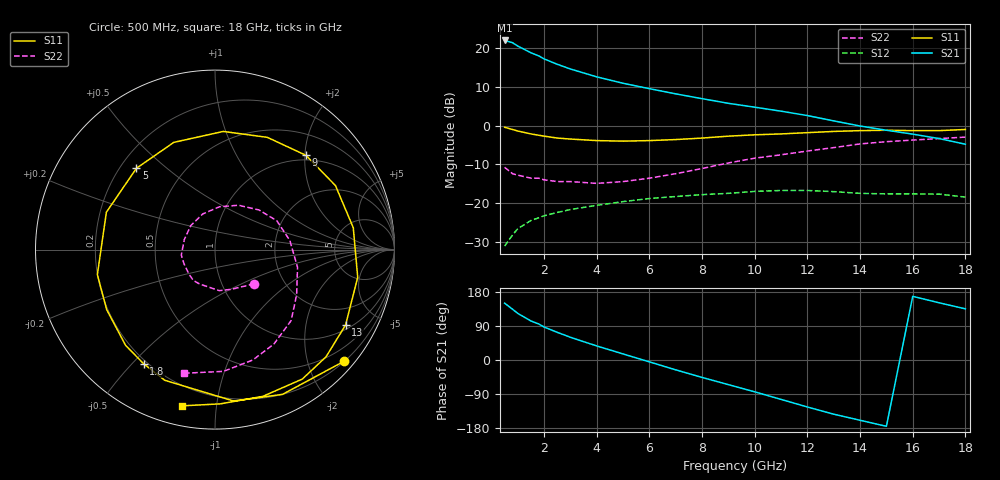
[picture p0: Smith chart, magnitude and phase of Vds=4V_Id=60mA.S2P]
!ATF-34143
!S-PARAMETERS at Vds=4V  Id=60mA.  LAST UPDATED 01-29-99
# ghz s ma r 50
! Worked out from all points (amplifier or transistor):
!   23 points, 500 MHz to 18 GHz, reference 50 ohm
!   highest |S21| = 21.9 dB at 500 MHz (marker M1)
!   |S21| within 3 dB of that: start of sweep to 1.451 GHz
!   unconditionally stable (mu >= 1): 5.195 GHz to end of sweep
!   at 1.5 GHz: K = 0.46, MSG = 21.6 dB, |S12| = -24.4 dB
!   at 7 GHz: K = 1.10, MAG = 11.3 dB, |S12| = -18.3 dB
!   at 18 GHz: K = 1.33, MAG = 3.4 dB, |S12| = -18.4 dB
!   lowest NFmin = 0.11 dB at 500 MHz
!   S11 on the Smith chart (normalised r, x): 500 MHz: 0.21, -2.66; 1.8 GHz: 0.19, -0.54; 5 GHz: 0.27, +0.40; 9 GHz: 0.90, +2.02; 13 GHz: 1.17, -3.35; 18 GHz: 0.10, -0.81
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0.5  0.95 -41.0  12.45 150.0  0.028 68.0  0.29 -41.0
0.8  0.89 -65.0  11.65 134.0  0.039 57.0  0.24 -67.0
1  0.85 -83.0  10.55 123.0  0.047 49.0  0.23 -84.0
1.5  0.78 -111.0  8.646 103.0  0.06 38.0  0.21 -114.0
1.8  0.75 -122.0  7.873 95.0  0.065 33.0  0.21 -125.0
2  0.73 -133.0  7.207 87.0  0.069 29.0  0.2 -136.0
2.5  0.69 -151.0  6.149 73.0  0.076 22.0  0.19 -155.0
3  0.67 -168.0  5.345 60.0  0.083 15.0  0.19 -171.0
4  0.64 161.0  4.232 37.0  0.094 3.0  0.18 162.0
5  0.63 134.0  3.501 16.0  0.105 -10.0  0.19 135.0
6  0.64 111.0  2.983 -5.0  0.115 -24.0  0.21 109.0
7  0.66 86.0  2.557 -26.0  0.122 -38.0  0.24 84.0
8  0.69 65.0  2.217 -46.0  0.129 -51.0  0.28 62.0
9  0.73 46.0  1.932 -65.0  0.134 -65.0  0.33 42.0
10  0.76 28.0  1.723 -84.0  0.142 -79.0  0.38 25.0
11  0.78 9.0  1.531 -104.0  0.146 -94.0  0.42 7.0
12  0.81 -11.0  1.344 -124.0  0.146 -111.0  0.47 -12.0
13  0.84 -30.0  1.148 -143.0  0.141 -126.0  0.52 -29.0
15  0.87 -56.0  0.87 -175.0  0.132 -150.0  0.62 -58.0
16  0.86 -72.0  0.775 168.0  0.132 -163.0  0.65 -71.0
17  0.86 -88.0  0.68 151.0  0.131 -178.0  0.68 -86.0
18  0.89 -102.0  0.575 135.0  0.12 169.0  0.71 -104.0
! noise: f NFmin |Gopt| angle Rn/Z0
0.5  0.11  0.84  15  0.14
0.9  0.14  0.78  30  0.12
1.5  0.2  0.69  53  0.1
1.8  0.23  0.66  62  0.1
2.5  0.33  0.55  91  0.07
3  0.39  0.5  111  0.05
5  0.67  0.39  -173  0.04
6  0.81  0.39  -137  0.07
8  1.1  0.47  -76  0.26
10  1.39  0.62  -37  0.6
